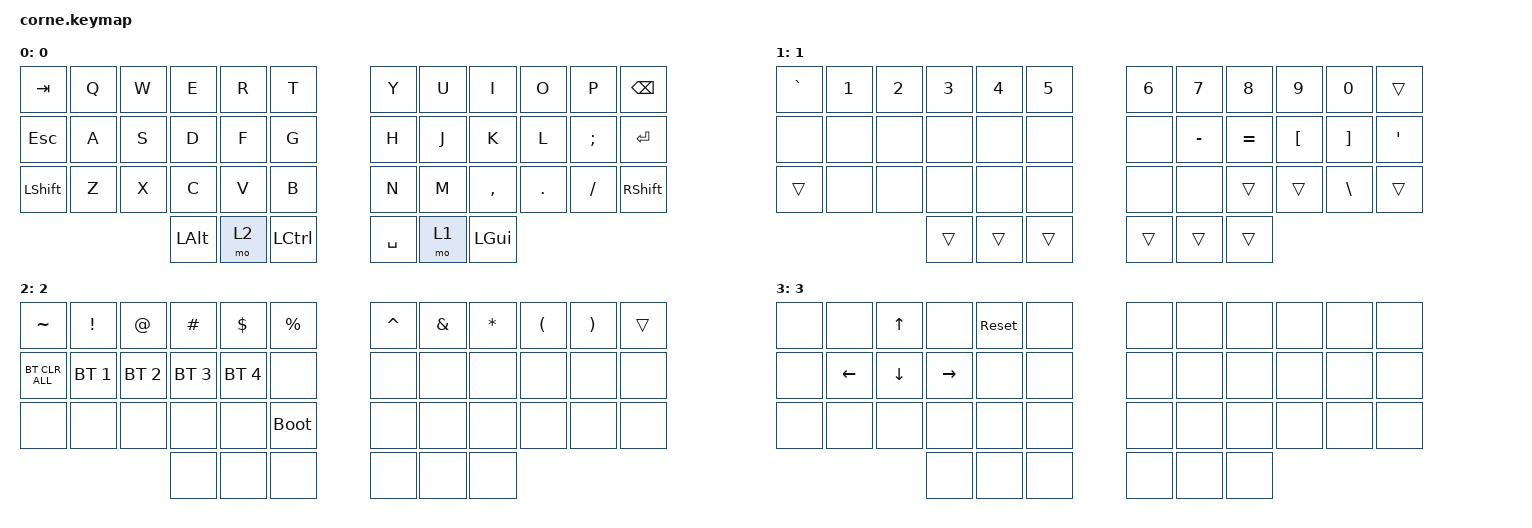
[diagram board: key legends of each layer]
/*
 * Copyright (c) 2020 The ZMK Contributors
 *
 * SPDX-License-Identifier: MIT
 */

#include <behaviors.dtsi>
#include <dt-bindings/zmk/bt.h>
#include <dt-bindings/zmk/keys.h>

#define DEFAULT_L 0
#define SYMBOLS_L 1
#define ARROWS_L  2
#define NUMBERS_L 3

/ {
    behaviors {
        hm: homerow_mods {
            compatible = "zmk,behavior-hold-tap";
            label = "HOMEROW_MODS";
            #binding-cells = <2>;
            tapping-term-ms = <300>;
            quick-tap-ms = <200>;
            flavor = "tap-preferred";
            bindings = <&kp>, <&kp>;
        };
    };

    combos {
        compatible = "zmk,combos";

        h {
            bindings = <&sys_reset>;
            key-positions = <1 29>;
        };

        j {
            bindings = <&sys_reset>;
            key-positions = <30 10>;
        };
    };

    keymap {
        compatible = "zmk,keymap";

        qwerty {
            label = "0";
            bindings = <
&kp TAB         &kp Q  &kp W  &kp E         &kp R  &kp T        &kp Y      &kp U  &kp I         &kp O    &kp P     &kp BSPC
&kp ESCAPE      &kp A  &kp S  &kp D         &kp F  &kp G        &kp H      &kp J  &kp K         &kp L    &kp SEMI  &kp RET
&kp LEFT_SHIFT  &kp Z  &kp X  &kp C         &kp V  &kp B        &kp N      &kp M  &kp COMMA     &kp DOT  &kp FSLH  &kp RSHFT
                              &kp LEFT_ALT  &mo 2  &kp LCTRL    &kp SPACE  &mo 1  &kp LEFT_GUI
            >;
        };

        number {
            label = "1";
            bindings = <
&kp GRAVE  &kp N1  &kp N2  &kp N3  &kp N4  &kp N5    &kp N6  &kp N7     &kp N8     &kp N9            &kp N0             &trans
&none      &none   &none   &none   &none   &none     &none   &kp MINUS  &kp EQUAL  &kp LEFT_BRACKET  &kp RIGHT_BRACKET  &kp SINGLE_QUOTE
&trans     &none   &none   &none   &none   &none     &none   &none      &trans     &trans            &kp BACKSLASH      &trans
                           &trans  &trans  &trans    &trans  &trans     &trans
            >;
        };

        symbol {
            label = "2";
            bindings = <
&kp TILDE       &kp EXCL      &kp AT        &kp POUND     &kp DOLLAR    &kp PERCENT    &kp CARET  &kp AMPS  &kp ASTRK  &kp LEFT_PARENTHESIS  &kp RIGHT_PARENTHESIS  &trans
&bt BT_CLR_ALL  &bt BT_SEL 1  &bt BT_SEL 2  &bt BT_SEL 3  &bt BT_SEL 4  &none          &none      &none     &none      &none                 &none                  &none
&none           &none         &none         &none         &none         &bootloader    &none      &none     &none      &none                 &none                  &none
                                            &none         &none         &none          &none      &none     &none
            >;
        };

        arrow_layer {
            label = "3";
            bindings = <
&none  &none           &kp UP_ARROW    &none      &sys_reset  &none    &none  &none  &none  &none  &none  &none
&none  &kp LEFT_ARROW  &kp DOWN_ARROW  &kp RIGHT  &none       &none    &none  &none  &none  &none  &none  &none
&none  &none           &none           &none      &none       &none    &none  &none  &none  &none  &none  &none
                                       &none      &none       &none    &none  &none  &none
            >;
        };
    };
};
